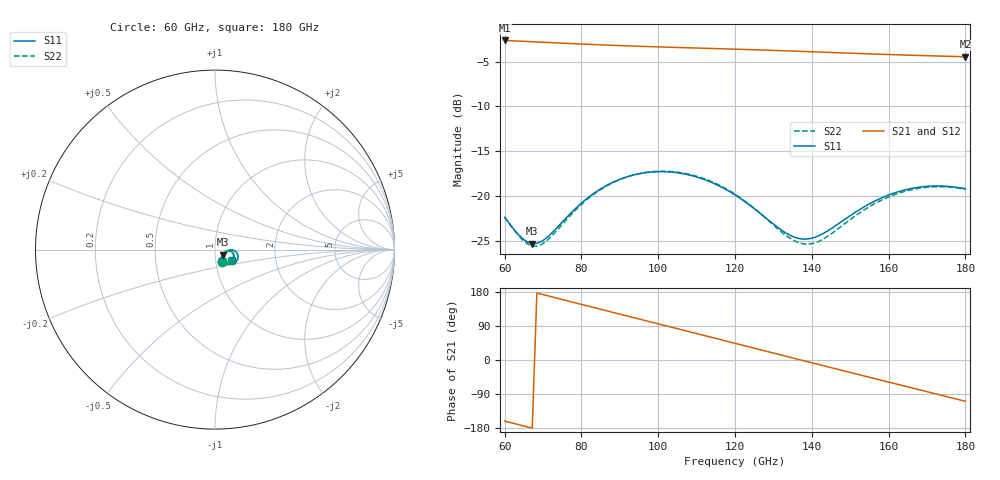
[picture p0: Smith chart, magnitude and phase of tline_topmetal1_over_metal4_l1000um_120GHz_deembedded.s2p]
! Created with skrf 2.2.0 (http://scikit-rf.org).
# GHz S DB R 50.0
! Port[1] = P1
! Port[2] = P2
!freq dBS11 angS11 dBS21 angS21 dBS12 angS12 dBS22 angS22
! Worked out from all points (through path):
!   101 points, 60 GHz to 180 GHz, reference 50 ohm
!   highest |S21| = -2.65 dB at 60 GHz (marker M1); lowest = -4.5 dB at 180 GHz (marker M2)
!   group delay of S21, straight-line fit = 7.12 ps
!   lowest |S11| = -25.3 dB at 67.2 GHz (marker M3), VSWR 1.11, Z = 54.7 - j3.15 ohm
!   |S11| at or under -10 dB: start of sweep to end of sweep
!   |S22| runs from -25.6 to -17.2 dB; largest |S21 - S12| = 1.2e-13
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60  -22.37 -58.6  -2.65 -161.0  -2.65 -161.0  -22.33 -61.4
64.8  -24.79 -43.6  -2.75 -173.7  -2.75 -173.7  -24.94 -46.9
67.2  -25.30 -31.8  -2.79 -180.0  -2.79 -180.0  -25.57 -34.8
70.8  -24.70 -15.0  -2.87 170.6  -2.87 170.6  -25.04 -16.8
75.6  -22.63 -3.0  -2.96 158.1  -2.96 158.1  -22.87 -3.8
80.4  -20.64 -0.8  -3.06 145.7  -3.06 145.7  -20.78 -1.5
86.4  -18.85 -4.8  -3.16 130.3  -3.16 130.3  -18.91 -5.6
91.2  -17.95 -10.4  -3.24 118.0  -3.24 118.0  -17.96 -11.4
96  -17.44 -17.0  -3.32 105.7  -3.32 105.7  -17.42 -18.3
100.8  -17.28 -23.9  -3.38 93.4  -3.38 93.4  -17.23 -25.6
105.6  -17.44 -30.9  -3.44 81.1  -3.44 81.1  -17.37 -32.9
110.4  -17.92 -37.5  -3.50 68.8  -3.50 68.8  -17.84 -39.8
120  -19.87 -47.3  -3.62 44.1  -3.62 44.1  -19.79 -50.8
126  -21.74 -48.5  -3.70 28.6  -3.70 28.6  -21.73 -53.0
130.8  -23.39 -44.2  -3.77 16.3  -3.77 16.3  -23.53 -49.5
135.6  -24.61 -33.6  -3.84 4.0  -3.84 4.0  -25.02 -39.0
140.4  -24.65 -20.0  -3.92 -8.3  -3.92 -8.3  -25.27 -23.9
150  -22.18 -6.0  -4.07 -32.8  -4.07 -32.8  -22.62 -7.4
156  -20.65 -7.1  -4.16 -48.1  -4.16 -48.1  -20.94 -8.4
160.8  -19.76 -10.7  -4.23 -60.3  -4.23 -60.3  -19.96 -12.2
170.4  -18.90 -21.3  -4.36 -84.6  -4.36 -84.6  -19.01 -23.5
180  -19.19 -32.6  -4.47 -108.9  -4.47 -108.9  -19.26 -35.9
